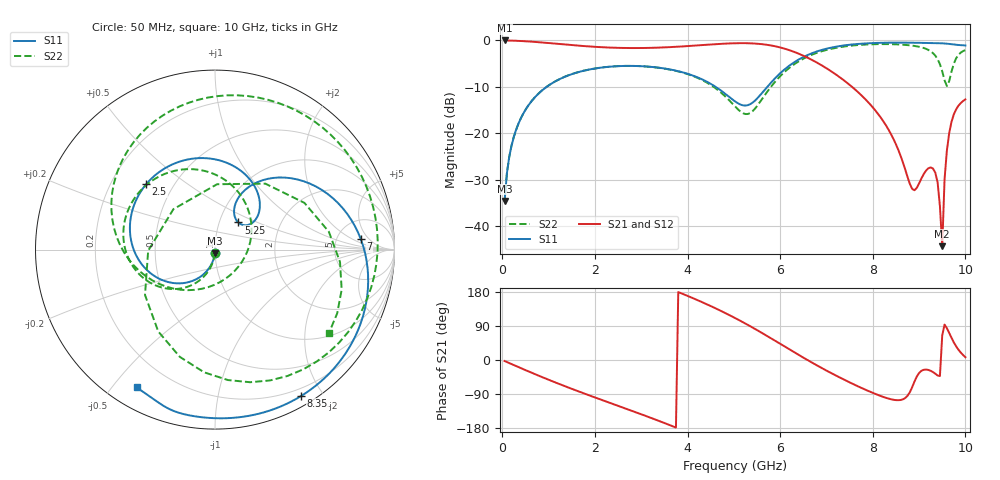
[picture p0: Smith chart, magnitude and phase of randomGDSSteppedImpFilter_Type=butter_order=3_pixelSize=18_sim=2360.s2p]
! freq	dB(S11)	phase(S11)	dB(S12)	phase(S12)
!  dB(S21)	phase(S21)	dB(S22)	phase(S22)
!S-par simulation data
#  GHz  S  DB  R 50
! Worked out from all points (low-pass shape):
!   200 points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, 50 MHz to 10 GHz, reference 50 ohm
!   highest |S21| = -0.01 dB at 50 MHz (marker M1); lowest = -44.3 dB at 9.5 GHz (marker M2)
!   |S21| within 3 dB of the highest: start of sweep to 6.437 GHz
!   lowest |S11| = -34.5 dB at 50 MHz (marker M3), VSWR 1.04, Z = 49.9 - j1.88 ohm
!   |S11| at or under -10 dB: start of sweep to 955.4 MHz; 4.609 GHz to 5.721 GHz (1.112 GHz wide, 21.5 % of centre)
!   |S22| runs from -34.5 to -0.8 dB; largest |S21 - S12| = 0
!   S11 on the Smith chart (normalised r, x): 50 MHz: 1.00, -0.04; 2.5 GHz: 0.35, +0.36; 5.25 GHz: 1.23, +0.39; 7 GHz: 8.76, +3.00; 8.35 GHz: 0.11, -1.74; 10 GHz: 0.08, -0.58
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0.05  -34.51 -92.9  -0.01 -2.7  -0.01 -2.7  -34.51 -92.4
0.2  -22.60 -102.1  -0.04 -10.8  -0.04 -10.8  -22.60 -100.2
0.5  -14.93 -119.6  -0.18 -26.7  -0.18 -26.7  -14.93 -114.9
1.75  -6.54 173.5  -1.21 -87.6  -1.21 -87.6  -6.53 -169.8
2.5  -5.53 136.5  -1.60 -121.0  -1.60 -121.0  -5.53 160.5
3.4  -5.89 92.8  -1.54 -161.5  -1.54 -161.5  -5.91 123.7
4.3  -8.30 50.7  -1.01 153.5  -1.01 153.5  -8.45 77.6
5.05  -13.28 38.7  -0.60 109.3  -0.60 109.3  -14.45 4.5
5.25  -14.01 49.3  -0.59 96.2  -0.59 96.2  -15.84 -35.7
6.05  -6.62 55.7  -1.64 39.1  -1.64 39.1  -7.20 -163.9
6.7  -2.70 20.8  -4.26 -7.7  -4.26 -7.7  -3.01 138.7
7  -1.78 4.1  -5.98 -27.9  -5.98 -27.9  -2.05 115.2
7.65  -0.78 -29.0  -10.84 -67.8  -10.84 -67.8  -1.01 66.9
8.35  -0.48 -59.6  -19.37 -102.2  -19.37 -102.2  -0.80 14.9
8.85  -0.49 -78.9  -31.93 -72.0  -31.93 -72.0  -1.11 -26.9
9.35  -0.58 -97.0  -28.45 -36.2  -28.45 -36.2  -3.27 -95.1
9.45  -0.60 -100.7  -35.65 -42.3  -35.65 -42.3  -5.11 -124.7
9.5  -0.62 -102.7  -44.26 65.1  -44.26 65.1  -6.66 -147.0
9.55  -0.65 -104.6  -29.90 93.5  -29.90 93.5  -8.58 -179.0
9.65  -0.76 -108.3  -19.96 71.2  -19.96 71.2  -8.77 88.2
9.8  -0.94 -113.3  -14.82 36.1  -14.82 36.1  -3.85 8.9
10  -1.08 -119.5  -12.68 7.4  -12.68 7.4  -2.09 -36.1
